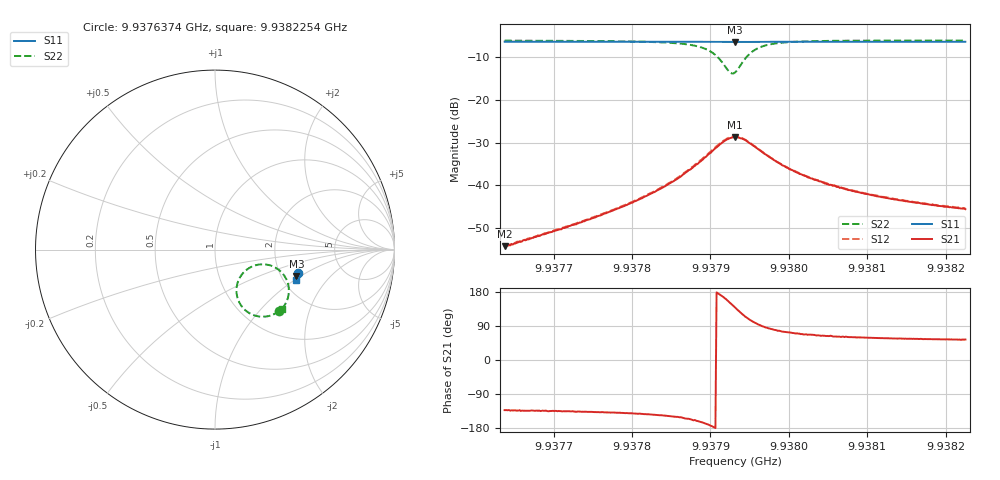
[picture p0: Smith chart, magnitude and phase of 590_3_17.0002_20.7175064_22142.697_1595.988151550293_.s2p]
#  HZ  S  RI  R  50.00
! Rohde & Schwarz Vector Network Analyzer
! Rohde-Schwarz,ZNB20-2Port,1311601062101988,3.16
! Created: UTC 3/20/2024, 11:18:36 PM
! freq[Hz]  re:S11  im:S11  re:S21  im:S21  re:S12  im:S12  re:S22  im:S22
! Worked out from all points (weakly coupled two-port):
!   401 points, 9.9376374 GHz to 9.9382254 GHz, reference 50 ohm
!   highest |S21| = -28.74 dB at 9.9379314 GHz (marker M1); lowest = -54.3 dB at 9.9376374 GHz (marker M2)
!   lowest |S11| = -6.4 dB at 9.9379314 GHz (marker M3), VSWR 2.82, Z = 121 - j45.9 ohm
!   |S11| at or under -10 dB: nowhere
!   |S22| runs from -13.8 to -6.1 dB; largest |S21 - S12| = 0.0017
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9.93763736e9  0.4642 -0.1305  -0.0013 -0.00143  -0.00133 -0.00143  0.3587 -0.3412
9.93765059e9  0.4639 -0.1314  -0.00141 -0.00152  -0.00147 -0.0015  0.357 -0.3425
9.93773585e9  0.4617 -0.1371  -0.00269 -0.00254  -0.00272 -0.00256  0.3412 -0.353
9.93779024e9  0.4602 -0.1408  -0.00437 -0.00367  -0.00453 -0.00368  0.3235 -0.3624
9.93783434e9  0.4589 -0.144  -0.00735 -0.00503  -0.00751 -0.00504  0.2959 -0.3708
9.9378608e9  0.4578 -0.1459  -0.0108 -0.00595  -0.0113 -0.00584  0.2649 -0.3743
9.93788139e9  0.4567 -0.1473  -0.0163 -0.00598  -0.0167 -0.00582  0.222 -0.3675
9.93789609e9  0.4556 -0.1482  -0.022 -0.00416  -0.0226 -0.00377  0.1771 -0.3443
9.93790638e9  0.4545 -0.1486  -0.0271 -0.000162  -0.0279 0.000627  0.1413 -0.305
9.93791667e9  0.4537 -0.1484  -0.0314 0.00783  -0.0319 0.00905  0.1195 -0.2342
9.93792549e9  0.4532 -0.1478  -0.031 0.0178  -0.0311 0.0194  0.1384 -0.1556
9.93792843e9  0.4533 -0.1476  -0.0296 0.0211  -0.0293 0.0227  0.1556 -0.1313
9.93793137e9  0.4533 -0.1472  -0.0275 0.0241  -0.0271 0.0257  0.1777 -0.1111
9.93794019e9  0.454 -0.147  -0.0185 0.03  -0.0177 0.0309  0.2567 -0.0822
9.93794901e9  0.4548 -0.1473  -0.00977 0.0301  -0.00875 0.0308  0.3261 -0.0949
9.93796371e9  0.4557 -0.1487  -0.00068 0.0253  1.72e-05 0.0255  0.388 -0.1483
9.93797841e9  0.4559 -0.1499  0.00305 0.0203  0.00358 0.0203  0.4079 -0.1944
9.93799752e9  0.4557 -0.1517  0.00458 0.0154  0.00494 0.0155  0.4118 -0.2346
9.93802986e9  0.4549 -0.1545  0.0048 0.011  0.00512 0.0109  0.4054 -0.2718
9.93807396e9  0.4538 -0.1575  0.00432 0.00779  0.00453 0.0078  0.3949 -0.2974
9.93812835e9  0.4524 -0.1612  0.00377 0.00585  0.00391 0.00585  0.3848 -0.314
9.93822537e9  0.4496 -0.1677  0.00306 0.00424  0.00325 0.00424  0.3723 -0.33
